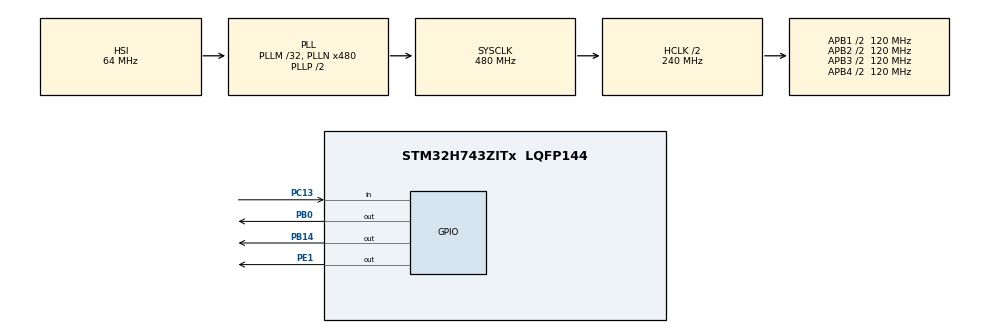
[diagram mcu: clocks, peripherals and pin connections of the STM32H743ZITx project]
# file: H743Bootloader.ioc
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CORTEX_M7.default_mode_Activation=1
MBEDTLS.MBEDTLS_AESNI_C=0
MBEDTLS.MBEDTLS_AES_C=0
MBEDTLS.MBEDTLS_ARC4_C=0
MBEDTLS.MBEDTLS_BASE64_C=0
MBEDTLS.MBEDTLS_BLOWFISH_C=0
MBEDTLS.MBEDTLS_CAMELLIA_C=0
MBEDTLS.MBEDTLS_CERTS_C=0
MBEDTLS.MBEDTLS_CHACHA20_C=0
MBEDTLS.MBEDTLS_CIPHER_C=0
MBEDTLS.MBEDTLS_DES_C=0
MBEDTLS.MBEDTLS_DHM_C=0
MBEDTLS.MBEDTLS_ENTROPY_C=0
MBEDTLS.MBEDTLS_ERROR_C=0
MBEDTLS.MBEDTLS_HKDF_C=0
MBEDTLS.MBEDTLS_MD5_C=0
MBEDTLS.MBEDTLS_MD_C=0
MBEDTLS.MBEDTLS_PADLOCK_C=0
MBEDTLS.MBEDTLS_PK_C=0
MBEDTLS.MBEDTLS_PK_PARSE_C=0
MBEDTLS.MBEDTLS_PK_WRITE_C=0
MBEDTLS.MBEDTLS_POLY1305_C=0
MBEDTLS.MBEDTLS_RIPEMD160_C=0
MBEDTLS.MBEDTLS_RSA_C=0
MBEDTLS.MBEDTLS_SHA512_C=0
MBEDTLS.MBEDTLS_VERSION_C=0
MBEDTLS.MBEDTLS_X509_CHECK_EXTENDED_KEY_USAGE=0
MBEDTLS.MBEDTLS_X509_CHECK_KEY_USAGE=0
MBEDTLS.MBEDTLS_X509_CREATE_C=0
MBEDTLS.MBEDTLS_X509_CRL_PARSE_C=0
MBEDTLS.MBEDTLS_X509_CRT_PARSE_C=0
MBEDTLS.MBEDTLS_X509_CSR_PARSE_C=0
MBEDTLS.MBEDTLS_X509_RSASSA_PSS_SUPPORT=0
MBEDTLS.MBEDTLS_X509_USE_C=0
MBEDTLS.MBEDTLS_XTEA_C=0
Mcu.Family=STM32H7
Mcu.Name=STM32H743ZITx
Mcu.Package=LQFP144
NUCLEO-H743ZI2.BUTTON=1
NUCLEO-H743ZI2.Bsp_Common_DEMO=true
NUCLEO-H743ZI2.LD1=true
NUCLEO-H743ZI2.LD2=true
NUCLEO-H743ZI2.LD3=true
NUCLEO-H743ZI2.VCP=true
NVIC.EXTI15_10_IRQn=true\:0\:0\:false\:false\:true\:false\:true\:true
NVIC.PriorityGroup=NVIC_PRIORITYGROUP_4
PA13\ (JTMS/SWDIO).GPIO_Label=JTMS
PA13\ (JTMS/SWDIO).Signal=DEBUG_JTMS-SWDIO
PA14\ (JTCK/SWCLK).GPIO_Label=JTCK
PA14\ (JTCK/SWCLK).Signal=DEBUG_JTCK-SWCLK
PB0.Signal=GPIO_Output
PB14.Signal=GPIO_Output
PC13.Signal=GPIO_Input
PC14-OSC32_IN\ (OSC32_IN).Signal=RCC_OSC32_IN
PC15-OSC32_OUT\ (OSC32_OUT).Signal=RCC_OSC32_OUT
PD8.Signal=USART3_TX
PD9.Signal=USART3_RX
PE1.Signal=GPIO_Output
PH0-OSC_IN\ (PH0).Signal=RCC_OSC_IN
PH1-OSC_OUT\ (PH1).Signal=RCC_OSC_OUT
ProjectManager.HeapSize=0x200
ProjectManager.StackSize=0x400
ProjectManager.TargetToolchain=STM32CubeIDE
RCC.ADCFreq_Value=129000000
RCC.APB1Freq_Value=120000000
RCC.APB2Freq_Value=120000000
RCC.APB3Freq_Value=120000000
RCC.APB4Freq_Value=120000000
RCC.CortexFreq_Value=480000000
RCC.D1PPRE=RCC_APB3_DIV2
RCC.D2PPRE1=RCC_APB1_DIV2
RCC.D2PPRE2=RCC_APB2_DIV2
RCC.D3PPRE=RCC_APB4_DIV2
RCC.DIVN1=480
RCC.HCLKFreq_Value=240000000
RCC.HPRE=RCC_HCLK_DIV2
RCC.SYSCLKFreq_VALUE=480000000
RCC.SYSCLKSource=RCC_SYSCLKSOURCE_PLLCLK
RCC.USBFreq_Value=480000000
VP_MBEDTLS_VS_MBEDTLS.Mode=Enabled
VP_MEMORYMAP_VS_MEMORYMAP.Mode=CurAppReg
VP_NUCLEO-H743ZI2_VS_BSP_COMMON.Mode=COMMON
board=NUCLEO-H743ZI2

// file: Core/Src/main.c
/* USER CODE BEGIN Header */
/**
  ******************************************************************************
  * @file           : main.c
  * @brief          : Main program body
  ******************************************************************************
  * @attention
  *
  * Copyright (c) 2026 STMicroelectronics.
  * All rights reserved.
  *
  * This software is licensed under terms that can be found in the LICENSE file
  * in the root directory of this software component.
  * If no LICENSE file comes with this software, it is provided AS-IS.
  *
  ******************************************************************************
  */
/* USER CODE END Header */
#include "main.h"
#include "mbedtls.h"
#include <stdbool.h>
#include <stdint.h>
#include <string.h>
#include "mbedtls/sha256.h"
#include "mbedtls/ecdsa.h"
#include "mbedtls/pk.h"

/* USER CODE BEGIN PTD */
typedef struct
{
    uint32_t ActiveBankFlag;      // 0 = Bank0 aktiv, 1 = Bank1 aktiv
    uint32_t UpdateReadyFlag;     // 0 = kein Update, 1 = OTA Firmware fertig in inaktiver Bank
    uint8_t  AES_Key[16];         // optional
    uint8_t  SignatureBank0[64];  // ECDSA Signatur der Firmware in Bank0
    uint8_t  SignatureBank1[64];  // ECDSA Signatur der Firmware in Bank1
    uint8_t  PublicKey[64];       // X9.62 unkomprimierter öffentlicher Key (32B X + 32B Y)
    uint32_t FirmwareVersion;      // optional
    uint8_t  Reserved[128*1024 - 4 - 4 - 16 - 64 - 64 - 64 - 4]; // Rest des 128 KB Sektors
} UserData;

/* USER CODE END PTD */

/* USER CODE BEGIN PD */
#define BOOTLOADER_BASE_ADDR   0x08000000
#define APPLICATION_BANK0_ADDR 0x08020000
#define APPLICATION_BANK1_ADDR 0x08100000
#define FIRMWARE_SIZE 0xE0000
#define USER_DATA_ADDR         0x081E0000
#define USER_DATA_SECTOR_SIZE  (128*1024)
/* USER CODE END PD */

COM_InitTypeDef BspCOMInit;
__IO uint32_t BspButtonState = BUTTON_RELEASED;

void SystemClock_Config(void);
static void MPU_Config(void);
static void MX_GPIO_Init(void);
/* USER CODE BEGIN PFP */
static void JumpToApplication(uint32_t addr);
static bool ValidateFirmware(uint32_t addr, uint8_t* signature);
static void FlashWriteUserData(uint32_t addr, UserData *user);
/* USER CODE END PFP */

/* USER CODE BEGIN 0 */
static void JumpToApplication(uint32_t addr)
{
    uint32_t appStack = *(volatile uint32_t*)addr;
    uint32_t appResetHandler = *(volatile uint32_t*)(addr + 4);

    __disable_irq();

    __set_MSP(appStack);

    void (*appEntry)(void) = (void (*)(void))appResetHandler;
    appEntry();
}

static bool ValidateFirmware(uint32_t addr, uint8_t* signature)
{
	uint8_t hash[32];

	// 1️⃣ SHA256 berechnen
	mbedtls_sha256_context sha;
	mbedtls_sha256_init(&sha);
	mbedtls_sha256_starts_ret(&sha, 0);
	mbedtls_sha256_update_ret(&sha, (unsigned char*)addr, FIRMWARE_SIZE);
	mbedtls_sha256_finish_ret(&sha, hash);
	mbedtls_sha256_free(&sha);
	mbedtls_ecdsa_context ecdsa;
	mbedtls_ecdsa_init(&ecdsa);
	int ret = mbedtls_ecp_group_load(&ecdsa.grp, MBEDTLS_ECP_DP_SECP256R1);
	if (ret != 0)
	   goto cleanup;

    const unsigned char pub_key[] = {
      0x36, 0x20, 0x28, 0x77, 0x93, 0x2e, 0x51, 0x3b, 0x72, 0xfd, 0x8c, 0x21,
      0xe9, 0x18, 0x0a, 0xb9, 0x05, 0x0a, 0x5f, 0x59, 0x8f, 0x71, 0xa8, 0x21,
      0x38, 0x07, 0xef, 0xd0, 0x98, 0x5a, 0x8a, 0x7f, 0xef, 0x78, 0xac, 0x31,
      0xae, 0xff, 0xc2, 0x35, 0xad, 0xe7, 0x79, 0x20, 0xbe, 0x23, 0x4b, 0x6a,
      0x65, 0x4d, 0xdf, 0x14, 0x61, 0x16, 0x99, 0x56, 0x1f, 0xf4, 0xed, 0xfb,
      0x6c, 0xff, 0xce, 0x19
    };

       ret |= mbedtls_mpi_read_binary(&ecdsa.Q.X, pub_key, 32);
       ret |= mbedtls_mpi_read_binary(&ecdsa.Q.Y, pub_key + 32, 32);
       ret |= mbedtls_mpi_lset(&ecdsa.Q.Z, 1);
       if (ret != 0)
               goto cleanup;

           mbedtls_mpi r, s;
           mbedtls_mpi_init(&r);
           mbedtls_mpi_init(&s);

           mbedtls_mpi_read_binary(&r, signature, 32);
           mbedtls_mpi_read_binary(&s, signature + 32, 32);

           ret = mbedtls_ecdsa_verify(&ecdsa.grp, hash, sizeof(hash),
                                      &ecdsa.Q, &r, &s);

           mbedtls_mpi_free(&r);
           mbedtls_mpi_free(&s);

       cleanup:
           mbedtls_ecdsa_free(&ecdsa);

           return (ret == 0);
}

static uint32_t GetFlashSector(uint32_t addr)
{

    if (addr >= 0x08000000 && addr < 0x08100000)
    {
        return (addr - 0x08000000) / (128*1024);
    }
    else if (addr >= 0x08100000 && addr < 0x08200000)
    {
        return (addr - 0x08100000) / (128*1024);
    }
    else
    {
        return 0xFFFFFFFF;
    }
}

static uint32_t GetFlashBank(uint32_t addr)
{
    if (addr < 0x08100000)
        return FLASH_BANK_1; // Bank0
    else
        return FLASH_BANK_2; // Bank1
}

static void FlashWriteUserData(uint32_t addr, UserData *user)
{
    HAL_StatusTypeDef status;

    uint32_t sector = GetFlashSector(addr);
    uint32_t bank   = GetFlashBank(addr);

    if (sector == 0xFFFFFFFF)
    {
    	Error_Handler();
    }
    HAL_FLASH_Unlock();
    __HAL_FLASH_CLEAR_FLAG(FLASH_FLAG_ALL_BANK1);
    __HAL_FLASH_CLEAR_FLAG(FLASH_FLAG_ALL_BANK2);

    FLASH_EraseInitTypeDef EraseInitStruct = {0};
    uint32_t SectorError = 0;

    EraseInitStruct.TypeErase    = FLASH_TYPEERASE_SECTORS;
    EraseInitStruct.Banks        = bank;
    EraseInitStruct.Sector       = sector;
    EraseInitStruct.NbSectors    = 1;
    EraseInitStruct.VoltageRange = FLASH_VOLTAGE_RANGE_3;

    status = HAL_FLASHEx_Erase(&EraseInitStruct, &SectorError);
    if (status != HAL_OK)
    {
    	Error_Handler();
    }
    uint8_t *data = (uint8_t*)user;
    uint32_t flash_addr = addr;
    uint32_t remaining = sizeof(UserData);

    while (remaining >= 32)
    {
        // 32 Byte an Flashword programmieren
        status = HAL_FLASH_Program(FLASH_TYPEPROGRAM_FLASHWORD, flash_addr, (uint32_t)data);
        if (status != HAL_OK) Error_Handler();

        flash_addr += 32; // nächste Flashword-Adresse
        data += 32;       // nächste 32 Byte im UserData
        remaining -= 32;
    }

    // Optional: Rest < 32 Byte
    uint8_t tmp[32] = {0};
    if (remaining > 0)
    {
        memcpy(tmp, data, remaining);
        status = HAL_FLASH_Program(FLASH_TYPEPROGRAM_FLASHWORD, flash_addr, (uint32_t)tmp);
        if (status != HAL_OK) Error_Handler();
    }
    HAL_FLASH_Lock();
}

/* USER CODE END 0 */

int main(void)
{

  /* MPU Configuration--------------------------------------------------------*/
  MPU_Config();

  /* MCU Configuration--------------------------------------------------------*/

  /* Reset of all peripherals, Initializes the Flash interface and the Systick. */
  HAL_Init();

  /* Configure the system clock */
  SystemClock_Config();

  /* Initialize all configured peripherals */
  MX_GPIO_Init();
  MX_MBEDTLS_Init();
  /* USER CODE BEGIN 2 */
  BSP_LED_Init(LED_RED);
  UserData *user = (UserData*)USER_DATA_ADDR;
   uint32_t active_bank_addr = (user->ActiveBankFlag == 0)?APPLICATION_BANK0_ADDR:APPLICATION_BANK1_ADDR;
   uint32_t inactive_bank_addr = (user->ActiveBankFlag == 0)?APPLICATION_BANK1_ADDR:APPLICATION_BANK0_ADDR;

   uint8_t *active_signature = (user->ActiveBankFlag == 0)?user->SignatureBank0:user->SignatureBank1;
   uint8_t *inactive_signature = (user->ActiveBankFlag == 0)?user->SignatureBank1:user->SignatureBank0;
   if(user->UpdateReadyFlag)
   {
 	  if(ValidateFirmware(inactive_bank_addr, inactive_signature))
 	  {
 		 user->ActiveBankFlag = (user->ActiveBankFlag == 0)?1:0;
 		 user->UpdateReadyFlag = 0;
 		 active_bank_addr = (user->ActiveBankFlag == 0)?APPLICATION_BANK0_ADDR:APPLICATION_BANK1_ADDR;
 		 active_signature = (user->ActiveBankFlag == 0)?user->SignatureBank0:user->SignatureBank1;
 		 inactive_bank_addr = (user->ActiveBankFlag == 0)?APPLICATION_BANK1_ADDR:APPLICATION_BANK0_ADDR;
 		 inactive_signature = (user->ActiveBankFlag == 0)?user->SignatureBank1:user->SignatureBank0;
 	  }
 	  else
 	  {
 		 user->UpdateReadyFlag = 0;
 	  }
 	 FlashWriteUserData(USER_DATA_ADDR, user);
   }

   if(!ValidateFirmware(active_bank_addr, active_signature))
   {
	   // Rollback
	   user->ActiveBankFlag = (user->ActiveBankFlag == 0)?1:0;
	   active_bank_addr = (user->ActiveBankFlag == 0)?APPLICATION_BANK0_ADDR:APPLICATION_BANK1_ADDR;
	   active_signature = (user->ActiveBankFlag == 0)?user->SignatureBank0:user->SignatureBank1;
	   if(ValidateFirmware(active_bank_addr, active_signature))
	   {
		   FlashWriteUserData(USER_DATA_ADDR, user);
	   }
	   else
	   {

		   Error_Handler();
	   }

   }
   JumpToApplication(active_bank_addr);
  /* USER CODE END 2 */

  /* Initialize leds */
  BSP_LED_Init(LED_GREEN);
  BSP_LED_Init(LED_YELLOW);
  BSP_LED_Init(LED_RED);

  /* Initialize USER push-button, will be used to trigger an interrupt each time it's pressed.*/
  BSP_PB_Init(BUTTON_USER, BUTTON_MODE_EXTI);

  /* Initialize COM1 port (115200, 8 bits (7-bit data + 1 stop bit), no parity */
  BspCOMInit.BaudRate   = 115200;
  BspCOMInit.WordLength = COM_WORDLENGTH_8B;
  BspCOMInit.StopBits   = COM_STOPBITS_1;
  BspCOMInit.Parity     = COM_PARITY_NONE;
  BspCOMInit.HwFlowCtl  = COM_HWCONTROL_NONE;
  if (BSP_COM_Init(COM1, &BspCOMInit) != BSP_ERROR_NONE)
  {
    Error_Handler();
  }

  /* USER CODE BEGIN BSP */

  /* -- Sample board code to send message over COM1 port ---- */
  printf("Welcome to STM32 world !\n\r");

  /* -- Sample board code to switch on leds ---- */
  BSP_LED_On(LED_GREEN);
  BSP_LED_On(LED_YELLOW);
  BSP_LED_On(LED_RED);

  /* USER CODE END BSP */

  /* Infinite loop */
  /* USER CODE BEGIN WHILE */
  while (1)
  {

    /* -- Sample board code for User push-button in interrupt mode ---- */
    if (BspButtonState == BUTTON_PRESSED)
    {
      /* Update button state */
      BspButtonState = BUTTON_RELEASED;
      /* -- Sample board code to toggle leds ---- */
      BSP_LED_Toggle(LED_GREEN);
      BSP_LED_Toggle(LED_YELLOW);
      BSP_LED_Toggle(LED_RED);

      /* ..... Perform your action ..... */
    }
    /* USER CODE END WHILE */

  }
}

void SystemClock_Config(void)
{
  RCC_OscInitTypeDef RCC_OscInitStruct = {0};
  RCC_ClkInitTypeDef RCC_ClkInitStruct = {0};

  /** Supply configuration update enable
  */
  HAL_PWREx_ConfigSupply(PWR_LDO_SUPPLY);

  /** Configure the main internal regulator output voltage
  */
  __HAL_PWR_VOLTAGESCALING_CONFIG(PWR_REGULATOR_VOLTAGE_SCALE0);

  while(!__HAL_PWR_GET_FLAG(PWR_FLAG_VOSRDY)) {}

  /** Initializes the RCC Oscillators according to the specified parameters
  * in the RCC_OscInitTypeDef structure.
  */
  RCC_OscInitStruct.OscillatorType = RCC_OSCILLATORTYPE_HSI;
  RCC_OscInitStruct.HSIState = RCC_HSI_DIV1;
  RCC_OscInitStruct.HSICalibrationValue = RCC_HSICALIBRATION_DEFAULT;
  RCC_OscInitStruct.PLL.PLLState = RCC_PLL_ON;
  RCC_OscInitStruct.PLL.PLLSource = RCC_PLLSOURCE_HSI;
  RCC_OscInitStruct.PLL.PLLM = 32;
  RCC_OscInitStruct.PLL.PLLN = 480;
  RCC_OscInitStruct.PLL.PLLP = 2;
  RCC_OscInitStruct.PLL.PLLQ = 2;
  RCC_OscInitStruct.PLL.PLLR = 2;
  RCC_OscInitStruct.PLL.PLLRGE = RCC_PLL1VCIRANGE_1;
  RCC_OscInitStruct.PLL.PLLVCOSEL = RCC_PLL1VCOWIDE;
  RCC_OscInitStruct.PLL.PLLFRACN = 0;
  if (HAL_RCC_OscConfig(&RCC_OscInitStruct) != HAL_OK)
  {
    Error_Handler();
  }

  /** Initializes the CPU, AHB and APB buses clocks
  */
  RCC_ClkInitStruct.ClockType = RCC_CLOCKTYPE_HCLK|RCC_CLOCKTYPE_SYSCLK
                              |RCC_CLOCKTYPE_PCLK1|RCC_CLOCKTYPE_PCLK2
                              |RCC_CLOCKTYPE_D3PCLK1|RCC_CLOCKTYPE_D1PCLK1;
  RCC_ClkInitStruct.SYSCLKSource = RCC_SYSCLKSOURCE_PLLCLK;
  RCC_ClkInitStruct.SYSCLKDivider = RCC_SYSCLK_DIV1;
  RCC_ClkInitStruct.AHBCLKDivider = RCC_HCLK_DIV2;
  RCC_ClkInitStruct.APB3CLKDivider = RCC_APB3_DIV2;
  RCC_ClkInitStruct.APB1CLKDivider = RCC_APB1_DIV2;
  RCC_ClkInitStruct.APB2CLKDivider = RCC_APB2_DIV2;
  RCC_ClkInitStruct.APB4CLKDivider = RCC_APB4_DIV2;

  if (HAL_RCC_ClockConfig(&RCC_ClkInitStruct, FLASH_LATENCY_4) != HAL_OK)
  {
    Error_Handler();
  }
}

static void MX_GPIO_Init(void)
{

  /* GPIO Ports Clock Enable */
  __HAL_RCC_GPIOC_CLK_ENABLE();
  __HAL_RCC_GPIOH_CLK_ENABLE();
  __HAL_RCC_GPIOA_CLK_ENABLE();

}

 /* MPU Configuration */

void MPU_Config(void)
{
  MPU_Region_InitTypeDef MPU_InitStruct = {0};

  /* Disables the MPU */
  HAL_MPU_Disable();

  /** Initializes and configures the Region and the memory to be protected
  */
  MPU_InitStruct.Enable = MPU_REGION_ENABLE;
  MPU_InitStruct.Number = MPU_REGION_NUMBER0;
  MPU_InitStruct.BaseAddress = 0x0;
  MPU_InitStruct.Size = MPU_REGION_SIZE_4GB;
  MPU_InitStruct.SubRegionDisable = 0x87;
  MPU_InitStruct.TypeExtField = MPU_TEX_LEVEL0;
  MPU_InitStruct.AccessPermission = MPU_REGION_NO_ACCESS;
  MPU_InitStruct.DisableExec = MPU_INSTRUCTION_ACCESS_DISABLE;
  MPU_InitStruct.IsShareable = MPU_ACCESS_SHAREABLE;
  MPU_InitStruct.IsCacheable = MPU_ACCESS_NOT_CACHEABLE;
  MPU_InitStruct.IsBufferable = MPU_ACCESS_NOT_BUFFERABLE;

  HAL_MPU_ConfigRegion(&MPU_InitStruct);
  /* Enables the MPU */
  HAL_MPU_Enable(MPU_PRIVILEGED_DEFAULT);

}

/**
  * @brief BSP Push Button callback
  * @param Button Specifies the pressed button
  * @retval None
  */
void BSP_PB_Callback(Button_TypeDef Button)
{
  if (Button == BUTTON_USER)
  {
    BspButtonState = BUTTON_PRESSED;
  }
}

void Error_Handler(void)
{
  /* USER CODE BEGIN Error_Handler_Debug */
  /* User can add his own implementation to report the HAL error return state */
  __disable_irq();
  BSP_LED_On(LED_RED);
  while (1)
  {
  }
  /* USER CODE END Error_Handler_Debug */
}
